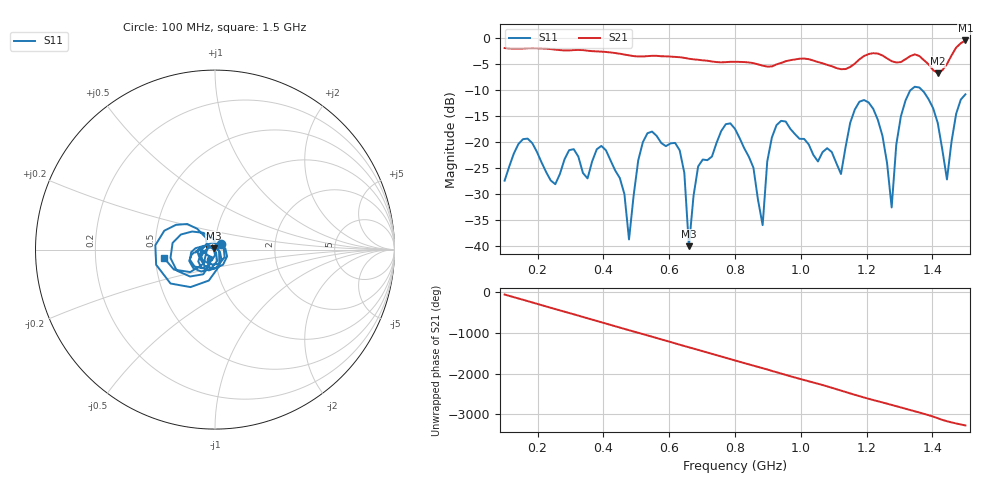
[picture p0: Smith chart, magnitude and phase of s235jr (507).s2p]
! NanoVNA-App
! Date: 2025-09-25 15:08:06
! Start: 100MHz Stop: 1,5GHz Points: 101
! S-Parameter data: F S11 S21 S12 S22
# Hz S RI R 50
!  Frequency  S11_Real  S11_Imag  S21_Real  S21_Imag  S12_Real  S12_Imag  S22_Real  S22_Imag
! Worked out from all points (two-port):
!   101 points, 100 MHz to 1.5 GHz, reference 50 ohm
!   highest |S21| = -0.50 dB at 1.5 GHz (marker M1); lowest = -6.8 dB at 1.416 GHz (marker M2)
!   |S21| within 3 dB of the highest: start of sweep to 491.5 MHz; 1.192 GHz to 1.251 GHz (58.94 MHz wide, 4.83 % of centre) (the widest 2 of 5)
!   lowest |S11| = -40.1 dB at 660 MHz (marker M3), VSWR 1.02, Z = 49.2 + j0.627 ohm
!   |S11| at or under -10 dB: start of sweep to 1.335 GHz; 1.367 GHz to end of sweep
!   S12 and S22 are empty: the file has one direction only
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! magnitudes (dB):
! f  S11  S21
! 100 MHz  -27.5  -2.0
! 170 MHz  -19.4  -2.0
! 338 MHz  -26.0  -2.4
! 408 MHz  -21.6  -2.7
! 478 MHz  -38.8  -3.4
! 520 MHz  -20.1  -3.6
! 576 MHz  -20.2  -3.5
! 632 MHz  -21.6  -3.7
! 660 MHz  -40.1  -4.0
! 688 MHz  -24.7  -4.2
! 800 MHz  -17.5  -4.6
! 884 MHz  -36.0  -5.4
! 926 MHz  -16.8  -5.1
! 1.038 GHz  -22.5  -4.4
! 1.122 GHz  -26.2  -6.0
! 1.206 GHz  -12.4  -3.1
! 1.276 GHz  -32.6  -4.5
! 1.29 GHz  -20.5  -4.7
! 1.332 GHz  -10.1  -3.5
! 1.416 GHz  -16.4  -6.8
! 1.444 GHz  -27.2  -5.0
! 1.5 GHz  -10.9  -0.5
